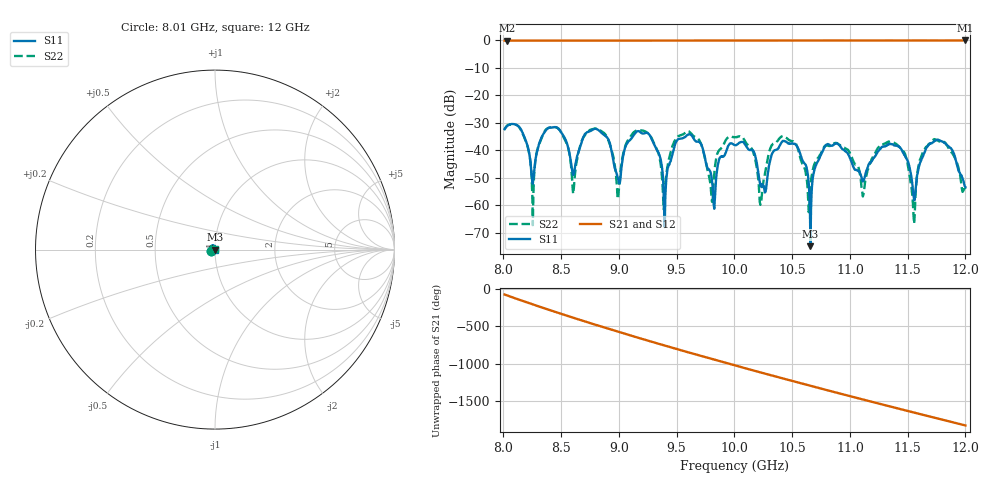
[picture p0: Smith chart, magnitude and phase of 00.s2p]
!Agilent Technologies,E8362C,MY49020356,A.09.42.23
!Agilent E8362C: A.09.42.23
!Date: Friday, November 08, 2024 19:07:06
!Correction: S11(Full 2 Port(1,2))
!S21(Full 2 Port(1,2))
!S12(Full 2 Port(1,2))
!S22(Full 2 Port(1,2))
!S2P File: Measurements: S11, S21, S12, S22:
# Hz S  RI  R 50
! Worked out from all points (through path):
!   801 points, 8.01 GHz to 12 GHz, reference 50 ohm
!   highest |S21| = 0.01 dB at 12 GHz (marker M1); lowest = -0.1 dB at 8.03 GHz (marker M2)
!   lowest |S11| = -74.9 dB at 10.66 GHz (marker M3), VSWR 1.00, Z = 50 - j0.00388 ohm
!   |S11| at or under -10 dB: start of sweep to end of sweep
!   |S22| runs from -67.3 to -30.7 dB; largest |S21 - S12| = 0.011
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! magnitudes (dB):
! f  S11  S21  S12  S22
! 8.01 GHz  -32.3  -0.1  -0.1  -32.4
! 8.03 GHz  -31.2  -0.1  -0.1  -31.1
! 8.254 GHz  -52.2  -0.1  -0.1  -67.3
! 8.379 GHz  -32.2  -0.1  -0.1  -32.0
! 8.604 GHz  -49.0  0.0  -0.1  -55.9
! 8.678 GHz  -36.7  0.0  -0.1  -36.5
! 8.993 GHz  -50.3  0.0  0.0  -57.7
! 9.342 GHz  -40.8  0.0  0.0  -41.1
! 9.402 GHz  -56.8  0.0  0.0  -51.9
! 9.611 GHz  -34.2  0.0  0.0  -33.3
! 9.801 GHz  -49.3  0.0  0.0  -56.5
! 10.01 GHz  -38.1  0.0  0.0  -35.2
! 10.23 GHz  -52.8  0.0  0.0  -59.0
! 10.52 GHz  -37.6  0.0  0.0  -37.2
! 10.66 GHz  -74.9  0.0  0.0  -54.0
! 10.67 GHz  -52.2  0.0  0.0  -48.4
! 10.8 GHz  -37.9  0.0  0.0  -38.2
! 11.12 GHz  -51.0  0.0  0.0  -56.0
! 11.34 GHz  -37.7  0.0  0.0  -36.8
! 11.55 GHz  -56.6  0.0  0.0  -63.8
! 11.73 GHz  -36.8  0.0  0.0  -35.9
! 12 GHz  -53.4  0.0  0.0  -54.1
